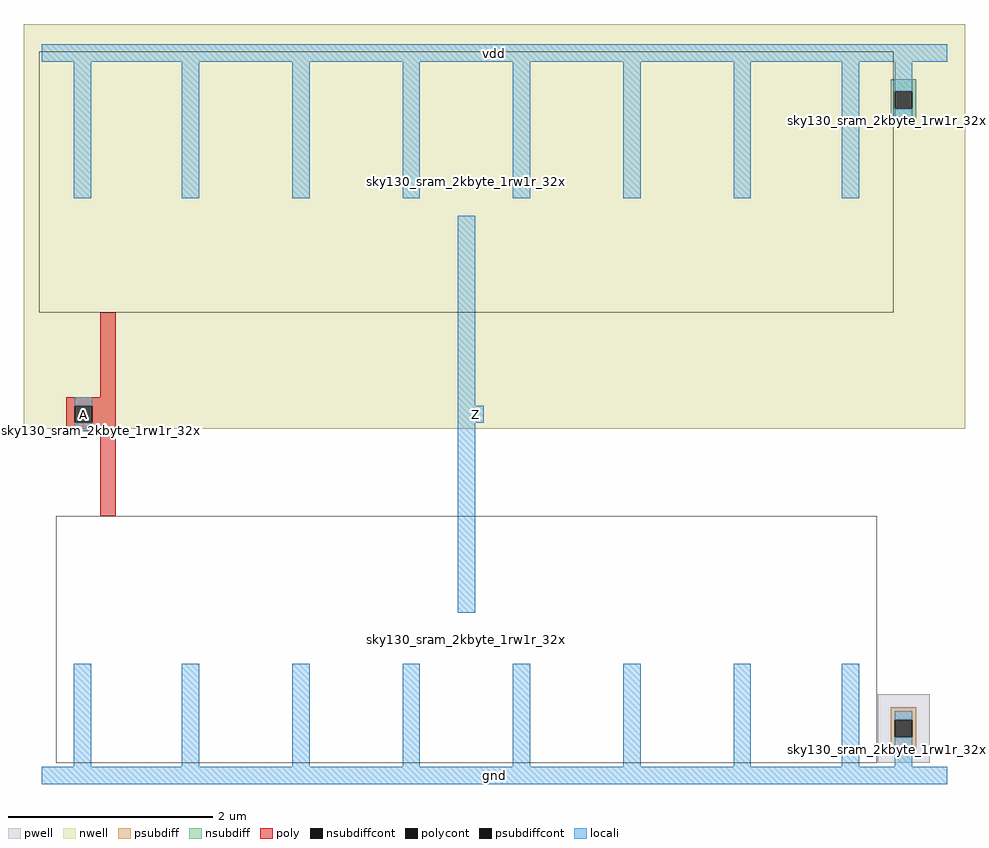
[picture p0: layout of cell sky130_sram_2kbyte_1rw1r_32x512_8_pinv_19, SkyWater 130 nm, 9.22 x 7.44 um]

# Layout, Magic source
magic
tech sky130A
magscale 1 2
<< nwell >>
rect -36 679 1808 1471
<< pwell >>
rect 1636 25 1738 159
<< psubdiff >>
rect 1662 109 1712 133
rect 1662 75 1670 109
rect 1704 75 1712 109
rect 1662 51 1712 75
<< nsubdiff >>
rect 1662 1339 1712 1363
rect 1662 1305 1670 1339
rect 1704 1305 1712 1339
rect 1662 1281 1712 1305
<< psubdiffcont >>
rect 1670 75 1704 109
<< nsubdiffcont >>
rect 1670 1305 1704 1339
<< poly >>
rect 114 740 144 907
rect 48 724 144 740
rect 48 690 64 724
rect 98 690 144 724
rect 48 674 144 690
rect 114 507 144 674
<< polycont >>
rect 64 690 98 724
<< locali >>
rect 0 1397 1772 1431
rect 62 1130 96 1397
rect 274 1130 308 1397
rect 490 1130 524 1397
rect 706 1130 740 1397
rect 922 1130 956 1397
rect 1138 1130 1172 1397
rect 1354 1130 1388 1397
rect 1566 1130 1600 1397
rect 1670 1339 1704 1397
rect 1670 1289 1704 1305
rect 64 724 98 740
rect 64 674 98 690
rect 814 724 848 1096
rect 814 690 865 724
rect 814 318 848 690
rect 62 17 96 218
rect 274 17 308 218
rect 490 17 524 218
rect 706 17 740 218
rect 922 17 956 218
rect 1138 17 1172 218
rect 1354 17 1388 218
rect 1566 17 1600 218
rect 1670 109 1704 125
rect 1670 17 1704 75
rect 0 -17 1772 17
use sky130_sram_2kbyte_1rw1r_32x512_8_contact_16  sky130_sram_2kbyte_1rw1r_32x512_8_contact_16_0
transform 1 0 48 0 1 674
box 0 0 1 1
use sky130_sram_2kbyte_1rw1r_32x512_8_contact_29  sky130_sram_2kbyte_1rw1r_32x512_8_contact_29_0
transform 1 0 1662 0 1 51
box 0 0 1 1
use sky130_sram_2kbyte_1rw1r_32x512_8_contact_28  sky130_sram_2kbyte_1rw1r_32x512_8_contact_28_0
transform 1 0 1662 0 1 1281
box 0 0 1 1
use sky130_sram_2kbyte_1rw1r_32x512_8_nmos_m14_w2_000_sli_dli_da_p  sky130_sram_2kbyte_1rw1r_32x512_8_nmos_m14_w2_000_sli_dli_da_p_0
transform 1 0 54 0 1 51
box -26 -26 1580 456
use sky130_sram_2kbyte_1rw1r_32x512_8_pmos_m14_w2_000_sli_dli_da_p  sky130_sram_2kbyte_1rw1r_32x512_8_pmos_m14_w2_000_sli_dli_da_p_0
transform 1 0 54 0 1 963
box -59 -56 1613 454
<< labels >>
rlabel locali s 81 707 81 707 4 A
port 1 nsew
rlabel locali s 848 707 848 707 4 Z
port 2 nsew
rlabel locali s 886 0 886 0 4 gnd
port 3 nsew
rlabel locali s 886 1414 886 1414 4 vdd
port 4 nsew
<< properties >>
string FIXED_BBOX 0 0 1772 1414
string GDS_FILE $PDKPATH/libs.ref/sky130_sram_macros/gds/sky130_sram_2kbyte_1rw1r_32x512_8.gds
string GDS_END 360640
string GDS_START 357874
<< end >>
